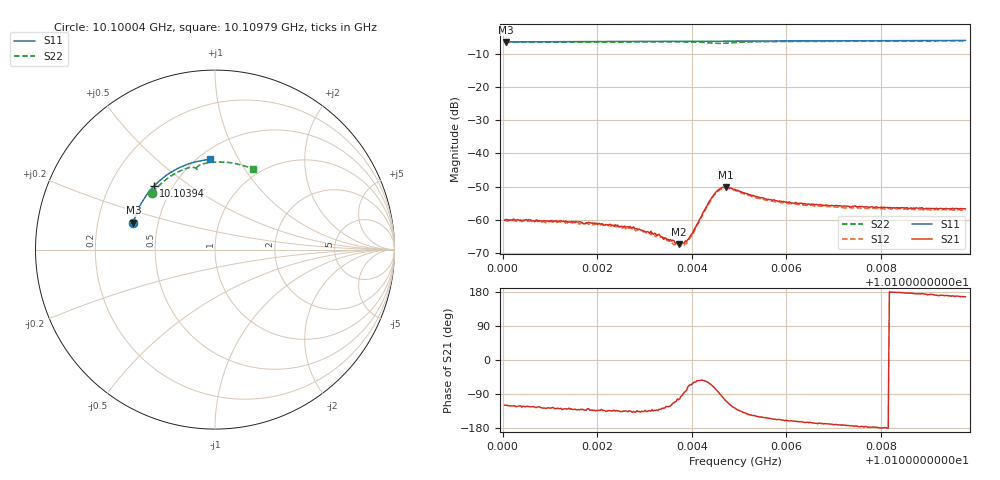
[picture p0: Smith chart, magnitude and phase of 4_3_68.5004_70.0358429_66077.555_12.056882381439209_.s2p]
#  HZ  S  RI  R  50.00
! Rohde & Schwarz Vector Network Analyzer
! Rohde-Schwarz,ZNB20-2Port,1311601062101988,3.16
! Created: UTC 3/20/2024, 5:03:54 PM
! freq[Hz]  re:S11  im:S11  re:S21  im:S21  re:S12  im:S12  re:S22  im:S22
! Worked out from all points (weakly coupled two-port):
!   401 points, 10.10004 GHz to 10.10979 GHz, reference 50 ohm
!   highest |S21| = -50.11 dB at 10.10472 GHz (marker M1); lowest = -67.4 dB at 10.10372 GHz (marker M2)
!   lowest |S11| = -6.4 dB at 10.10006 GHz (marker M3), VSWR 2.84, Z = 18 + j6.98 ohm
!   |S11| at or under -10 dB: nowhere
!   |S22| runs from -6.9 to -6.1 dB; largest |S21 - S12| = 0.00033
!   S11 on the Smith chart (normalised r, x): 10.10004 GHz: 0.36, +0.14; 10.10394 GHz: 0.39, +0.37; 10.10979 GHz: 0.57, +0.77
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1.010004e10  -0.4551 0.1479  -0.000478 -0.000868  -0.000404 -0.000893  -0.3484 0.3172
1.0100065e10  -0.4547 0.1492  -0.000504 -0.000881  -0.000419 -0.000884  -0.3473 0.3184
1.0101673e10  -0.4198 0.2408  -0.000597 -0.000699  -0.000549 -0.000705  -0.2726 0.3904
1.0102038e10  -0.4093 0.2603  -0.000604 -0.00065  -0.000522 -0.000675  -0.2533 0.4045
1.010272e10  -0.3873 0.2956  -0.000547 -0.000532  -0.0005 -0.000548  -0.2151 0.428
1.0102891e10  -0.3815 0.3041  -0.000516 -0.000505  -0.000467 -0.000547  -0.205 0.4332
1.0103305e10  -0.3662 0.3241  -0.000396 -0.000461  -0.000332 -0.000443  -0.1796 0.445
1.0103646e10  -0.3528 0.3398  -0.000155 -0.00042  -0.000126 -0.000404  -0.1569 0.4532
1.0103719e10  -0.3499 0.3432  -0.000109 -0.000414  -6.45e-05 -0.000416  -0.1519 0.4546
1.0103841e10  -0.3448 0.3487  3.63e-05 -0.000453  8.31e-05 -0.000409  -0.1433 0.4566
1.0103938e10  -0.3408 0.3529  0.000198 -0.000485  0.000201 -0.000467  -0.1359 0.4578
1.0104036e10  -0.3368 0.3572  0.000349 -0.000591  0.000334 -0.00053  -0.1283 0.4584
1.0104328e10  -0.3242 0.3697  0.00088 -0.00141  0.000964 -0.0013  -0.1062 0.4534
1.0104474e10  -0.3177 0.3757  0.000734 -0.00234  0.000878 -0.00221  -0.1009 0.4459
1.0104596e10  -0.3124 0.3805  -1.62e-05 -0.00296  0.000249 -0.00283  -0.1029 0.4423
1.0104718e10  -0.307 0.3854  -0.000956 -0.00297  -0.000659 -0.00292  -0.1059 0.446
1.0104913e10  -0.298 0.393  -0.00173 -0.0023  -0.00149 -0.00232  -0.1015 0.4581
1.0105571e10  -0.2662 0.4171  -0.00182 -0.000933  -0.00167 -0.00105  -0.0585 0.4798
1.0106131e10  -0.2377 0.4357  -0.0017 -0.000578  -0.00161 -0.0007  -0.0207 0.4862
1.0106545e10  -0.2158 0.4481  -0.00167 -0.000433  -0.00155 -0.000548  0.00665 0.4883
1.0108177e10  -0.1245 0.4848  -0.00154 5.76e-06  -0.00146 -0.000167  0.1116 0.4797
1.0109785e10  -0.0291 0.5024  -0.00143 0.000331  -0.0014 0.000168  0.2092 0.4492
